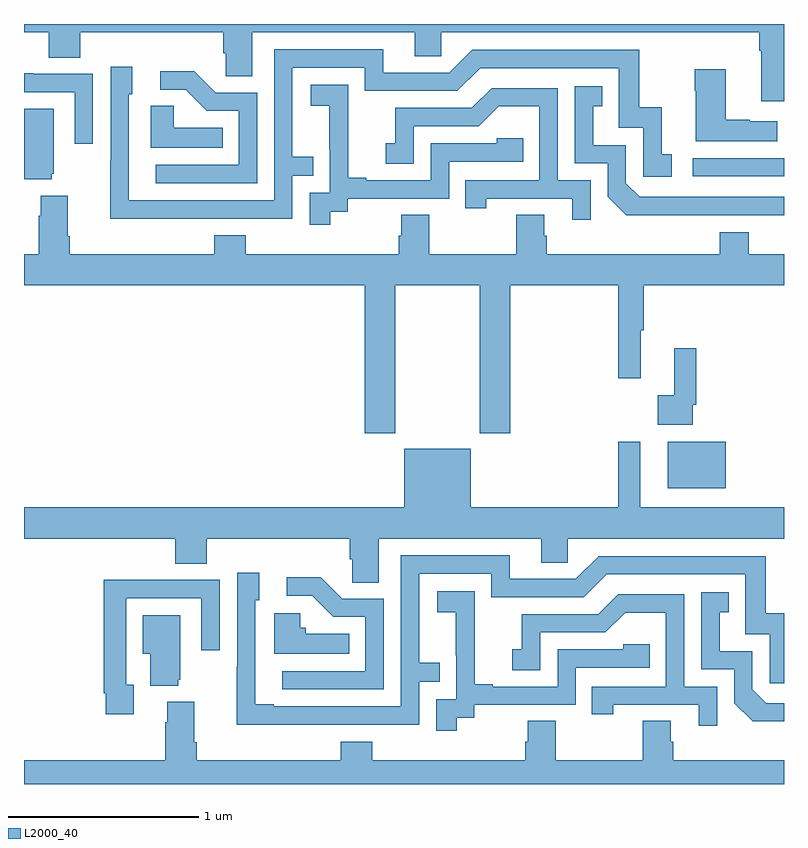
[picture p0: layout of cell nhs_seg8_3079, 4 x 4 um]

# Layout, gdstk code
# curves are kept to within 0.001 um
import gdstk
lib = gdstk.Library(unit=1e-6, precision=1e-09)
def R(c, l, rs):  # rectangles x0, y0, x1, y1
    for r in rs: c.add(gdstk.rectangle(r[:2], r[2:], *l))
def P(c, l, *ps):  # polygons
    for p in ps: c.add(gdstk.Polygon(p, *l))
L2000_40 = (2000, 40)

nhs_seg8_3079 = lib.new_cell('nhs_seg8_3079')
R(nhs_seg8_3079, L2000_40, [(306.389,1091.456,306.694,1091.701), (306.519,1093.098,307,1093.194)])
P(nhs_seg8_3079, L2000_40, [(303,1093.856),(303.131,1093.856),(303.131,1093.723),(303.296,1093.723),(303.296,1093.856),(304.049,1093.856),(304.049,1093.747),(304.062,1093.747),(304.062,1093.624),(304.201,1093.624),(304.201,1093.856),(305.057,1093.856),(305.057,1093.729),(305.196,1093.729),(305.196,1093.856),(306.869,1093.856),(306.869,1093.76),(306.881,1093.76),(306.881,1093.494),(307,1093.494),(307,1093.9),(303,1093.9)],
  [(303.917,1092.876),(304.413,1092.876),(304.413,1093.101),(304.523,1093.101),(304.523,1093.202),(304.413,1093.202),(304.413,1093.671),(304.794,1093.671),(304.794,1093.548),(305.28,1093.548),(305.4,1093.668),(306.129,1093.668),(306.129,1093.353),(306.258,1093.353),(306.258,1093.095),(306.409,1093.095),(306.409,1093.215),(306.356,1093.215),(306.356,1093.462),(306.238,1093.462),(306.238,1093.764),(305.358,1093.764),(305.238,1093.644),(304.891,1093.644),(304.891,1093.767),(304.317,1093.767),(304.317,1092.972),(303.552,1092.972),(303.552,1093.53),(303.571,1093.53),(303.571,1093.675),(303.456,1093.675),(303.456,1093.181),(303.454,1093.181),(303.454,1092.875)],
  [(306.964,1093.387),(306.821,1093.387),(306.821,1093.397),(306.694,1093.397),(306.694,1093.663),(306.529,1093.663),(306.529,1093.55),(306.536,1093.55),(306.536,1093.283),(306.964,1093.283)],
  [(304.227,1093.539),(304.008,1093.539),(303.895,1093.652),(303.717,1093.652),(303.717,1093.554),(303.851,1093.554),(303.962,1093.443),(304.131,1093.443),(304.131,1093.158),(303.693,1093.158),(303.693,1093.062),(304.227,1093.062)],
  [(303.363,1093.638),(303.047,1093.638),(303.047,1093.64),(303,1093.64),(303,1093.542),(303.267,1093.542),(303.267,1093.269),(303.363,1093.269)],
  [(304.612,1092.913),(304.704,1092.913),(304.704,1092.981),(305.238,1092.981),(305.238,1093.176),(305.627,1093.176),(305.627,1093.299),(305.487,1093.299),(305.487,1093.272),(305.142,1093.272),(305.142,1093.077),(304.801,1093.077),(304.801,1093.09),(304.706,1093.09),(304.706,1093.373),(304.707,1093.373),(304.707,1093.579),(304.509,1093.579),(304.509,1093.469),(304.607,1093.469),(304.607,1093.241),(304.608,1093.241),(304.608,1093.011),(304.503,1093.011),(304.503,1092.843),(304.612,1092.843)],
  [(306.578,1092.894),(307,1092.894),(307,1092.99),(306.24,1092.99),(306.168,1093.062),(306.168,1093.263),(305.995,1093.263),(305.995,1093.467),(306.044,1093.467),(306.044,1093.573),(305.898,1093.573),(305.898,1093.167),(306.072,1093.167),(306.072,1092.99),(306.17,1092.893)],
  [(305.982,1093.077),(305.808,1093.077),(305.808,1093.563),(305.462,1093.563),(305.357,1093.458),(304.954,1093.458),(304.954,1093.273),(304.905,1093.273),(304.905,1093.164),(305.052,1093.164),(305.052,1093.362),(305.394,1093.362),(305.498,1093.466),(305.712,1093.466),(305.712,1093.077),(305.323,1093.077),(305.323,1092.93),(305.434,1092.93),(305.434,1092.981),(305.885,1092.981),(305.885,1092.87),(305.982,1092.87)],
  [(304.046,1093.354),(303.789,1093.354),(303.789,1093.469),(303.668,1093.469),(303.668,1093.25),(304.046,1093.25)],
  [(303.146,1093.113),(303.157,1093.113),(303.157,1093.453),(303,1093.453),(303,1093.082),(303.146,1093.082)],
  [(304.953,1092.524),(305.398,1092.524),(305.398,1091.745),(305.558,1091.745),(305.558,1092.524),(306.127,1092.524),(306.127,1092.036),(306.245,1092.036),(306.245,1092.288),(306.263,1092.288),(306.263,1092.524),(307,1092.524),(307,1092.688),(306.814,1092.688),(306.814,1092.805),(306.662,1092.805),(306.662,1092.688),(305.75,1092.688),(305.75,1092.786),(305.737,1092.786),(305.737,1092.896),(305.59,1092.896),(305.59,1092.688),(305.133,1092.688),(305.133,1092.896),(304.985,1092.896),(304.985,1092.786),(304.973,1092.786),(304.973,1092.688),(304.166,1092.688),(304.166,1092.787),(304.001,1092.787),(304.001,1092.688),(303.242,1092.688),(303.242,1092.784),(303.229,1092.784),(303.229,1092.997),(303.089,1092.997),(303.089,1092.89),(303.077,1092.89),(303.077,1092.688),(303,1092.688),(303,1092.524),(304.793,1092.524),(304.793,1091.745),(304.953,1091.745)],
  [(306.519,1091.896),(306.539,1091.896),(306.539,1092.193),(306.422,1092.193),(306.422,1091.945),(306.336,1091.945),(306.336,1091.792),(306.519,1091.792)],
  [(307,1091.356),(306.244,1091.356),(306.244,1091.701),(306.127,1091.701),(306.127,1091.356),(305.35,1091.356),(305.35,1091.665),(305,1091.665),(305,1091.356),(303,1091.356),(303,1091.192),(303.797,1091.192),(303.797,1091.059),(303.962,1091.059),(303.962,1091.192),(304.715,1091.192),(304.715,1091.083),(304.728,1091.083),(304.728,1090.96),(304.867,1090.96),(304.867,1091.192),(305.723,1091.192),(305.723,1091.065),(305.862,1091.065),(305.862,1091.192),(307,1091.192)],
  [(304.583,1090.212),(305.079,1090.212),(305.079,1090.437),(305.189,1090.437),(305.189,1090.538),(305.079,1090.538),(305.079,1091.007),(305.46,1091.007),(305.46,1090.884),(305.946,1090.884),(306.066,1091.004),(306.795,1091.004),(306.795,1090.689),(306.924,1090.689),(306.924,1090.431),(307,1090.431),(307,1090.798),(306.904,1090.798),(306.904,1091.1),(306.024,1091.1),(305.904,1090.98),(305.557,1090.98),(305.557,1091.103),(304.983,1091.103),(304.983,1090.308),(304.315,1090.308),(304.315,1090.321),(304.218,1090.321),(304.218,1090.866),(304.237,1090.866),(304.237,1091.011),(304.122,1091.011),(304.122,1090.517),(304.12,1090.517),(304.12,1090.211)],
  [(304.893,1090.875),(304.674,1090.875),(304.561,1090.988),(304.383,1090.988),(304.383,1090.89),(304.517,1090.89),(304.628,1090.779),(304.797,1090.779),(304.797,1090.494),(304.359,1090.494),(304.359,1090.398),(304.893,1090.398)],
  [(303.577,1090.422),(303.537,1090.422),(303.537,1090.878),(303.933,1090.878),(303.933,1090.605),(304.029,1090.605),(304.029,1090.974),(303.713,1090.974),(303.713,1090.976),(303.421,1090.976),(303.421,1090.378),(303.429,1090.378),(303.429,1090.266),(303.577,1090.266)],
  [(305.278,1090.249),(305.37,1090.249),(305.37,1090.317),(305.904,1090.317),(305.904,1090.512),(306.293,1090.512),(306.293,1090.635),(306.153,1090.635),(306.153,1090.608),(305.808,1090.608),(305.808,1090.413),(305.467,1090.413),(305.467,1090.426),(305.372,1090.426),(305.372,1090.709),(305.373,1090.709),(305.373,1090.915),(305.175,1090.915),(305.175,1090.805),(305.273,1090.805),(305.273,1090.577),(305.274,1090.577),(305.274,1090.347),(305.169,1090.347),(305.169,1090.179),(305.278,1090.179)],
  [(307,1090.326),(306.906,1090.326),(306.834,1090.398),(306.834,1090.599),(306.661,1090.599),(306.661,1090.803),(306.71,1090.803),(306.71,1090.909),(306.564,1090.909),(306.564,1090.503),(306.738,1090.503),(306.738,1090.326),(306.836,1090.229),(307,1090.229)],
  [(306.648,1090.413),(306.474,1090.413),(306.474,1090.899),(306.128,1090.899),(306.023,1090.794),(305.62,1090.794),(305.62,1090.609),(305.571,1090.609),(305.571,1090.5),(305.718,1090.5),(305.718,1090.698),(306.06,1090.698),(306.164,1090.802),(306.378,1090.802),(306.378,1090.413),(305.989,1090.413),(305.989,1090.266),(306.1,1090.266),(306.1,1090.317),(306.551,1090.317),(306.551,1090.206),(306.648,1090.206)],
  [(304.712,1090.69),(304.482,1090.69),(304.482,1090.722),(304.455,1090.722),(304.455,1090.798),(304.316,1090.798),(304.316,1090.586),(304.712,1090.586)],
  [(303.812,1090.449),(303.823,1090.449),(303.823,1090.789),(303.626,1090.789),(303.626,1090.586),(303.665,1090.586),(303.665,1090.418),(303.812,1090.418)],
  [(307,1090.024),(306.416,1090.024),(306.416,1090.122),(306.403,1090.122),(306.403,1090.232),(306.256,1090.232),(306.256,1090.024),(305.799,1090.024),(305.799,1090.232),(305.651,1090.232),(305.651,1090.122),(305.639,1090.122),(305.639,1090.024),(304.832,1090.024),(304.832,1090.123),(304.667,1090.123),(304.667,1090.024),(303.908,1090.024),(303.908,1090.12),(303.895,1090.12),(303.895,1090.333),(303.755,1090.333),(303.755,1090.226),(303.743,1090.226),(303.743,1090.024),(303,1090.024),(303,1089.9),(307,1089.9)])

lib.write_gds('nhs_seg8_3079.gds')
